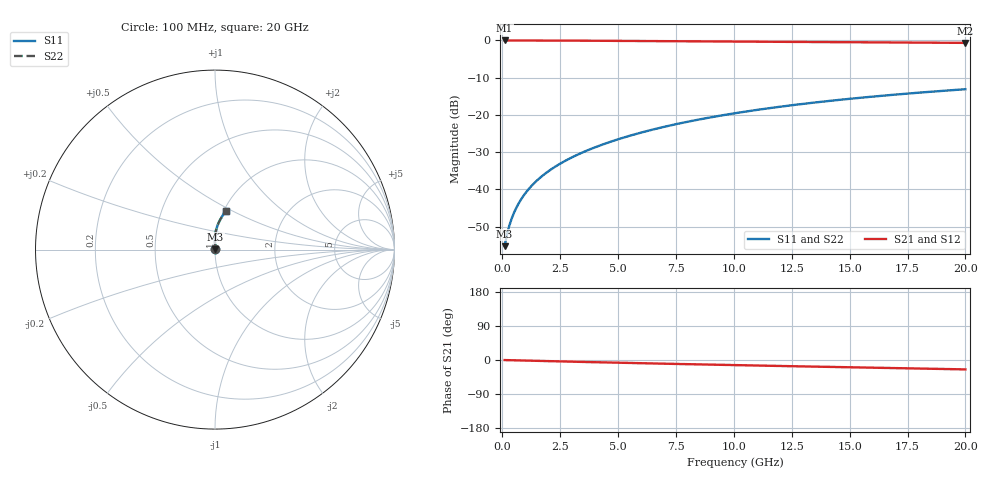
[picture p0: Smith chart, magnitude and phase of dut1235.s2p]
! Touchstone file exported from HFSS 2024.1.0
!  File:  C:/UserFiles/LocalFiles/RDL_TSV_Batchsim/temp_RDL_top_1235_1780240788.aedt
!  Generated:  11:21:51 PM May 31, 2026
!  Design:  RDL_top
!  Project:  temp_RDL_top_1235_1780240788
!  Setup:  Setup1
!  Solution:  Sweep
! Variables:
!  dtsv = 10.80580581um
!  hbump = 3um
!  htsv = 70.66um
!  ldown = 100um
!  lrdl = 353.79um
!  p = 40
!  p1 = 48.88um
!  rhole = 1um
!  t = 450um
!  tdown = 3.915915916um
!  trdl = 4.06um
!  wdown = 15.38538539um
!  wrdl = 25.98um
# GHz S MA R 50.000000
! Terminal data exported
! Port[1] = Box2_T1
! Port[2] = Box2_T2
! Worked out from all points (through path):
!   200 points, 100 MHz to 20 GHz, reference 50 ohm
!   highest |S21| = -0.01 dB at 100 MHz (marker M1); lowest = -0.7 dB at 20 GHz (marker M2)
!   group delay of S21, straight-line fit = 3.39 ps
!   lowest |S11| = -55.3 dB at 100 MHz (marker M3), VSWR 1.00, Z = 50.1 + j0.1 ohm
!   |S11| at or under -10 dB: start of sweep to end of sweep
!   |S22| runs from -55.3 to -13.1 dB; largest |S21 - S12| = 2.6e-15
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0.1  0.001722 35.5  0.9986 -0.2  0.9986 -0.2  0.001722 35.5
! Gamma 0 0 0 0
! Port Impedance 50 0 50 0
0.2  0.002446 52.3  0.9985 -0.3  0.9985 -0.3  0.002446 52.3
0.3  0.003223 60.7  0.9983 -0.5  0.9983 -0.5  0.003223 60.7
0.4  0.004006 66.0  0.9982 -0.6  0.9982 -0.6  0.004006 66.0
0.5  0.004796 69.8  0.9981 -0.8  0.9981 -0.8  0.004796 69.8
0.6  0.005595 72.7  0.998 -0.9  0.998 -0.9  0.005595 72.7
0.8  0.007224 76.8  0.9978 -1.2  0.9978 -1.2  0.007224 76.8
1.1  0.009729 80.7  0.9975 -1.6  0.9975 -1.6  0.009729 80.7
1.3  0.01143 82.5  0.9972 -1.9  0.9972 -1.9  0.01143 82.5
1.6  0.01403 84.5  0.9966 -2.4  0.9966 -2.4  0.01403 84.5
2.1  0.01846 86.8  0.9956 -3.1  0.9956 -3.1  0.01846 86.8
2.7  0.02396 88.5  0.994 -4.0  0.994 -4.0  0.02396 88.5
3.5  0.03161 90.0  0.9915 -5.1  0.9915 -5.1  0.03161 89.9
4.2  0.03862 90.7  0.989 -6.1  0.989 -6.1  0.03861 90.6
5  0.04696 91.0  0.9858 -7.2  0.9858 -7.2  0.04696 91.0
6.8  0.06686 90.5  0.9783 -9.5  0.9783 -9.5  0.06686 90.5
8.4  0.08549 89.2  0.9715 -11.5  0.9715 -11.5  0.08547 89.2
10.1  0.1058 87.3  0.9645 -13.6  0.9645 -13.6  0.1058 87.3
11.7  0.125 85.3  0.9581 -15.4  0.9581 -15.4  0.125 85.3
13.4  0.1454 83.0  0.9515 -17.4  0.9515 -17.4  0.1453 82.9
16.7  0.184 78.4  0.939 -21.1  0.939 -21.1  0.184 78.4
20  0.221 74.0  0.9266 -24.8  0.9266 -24.8  0.2209 73.9
